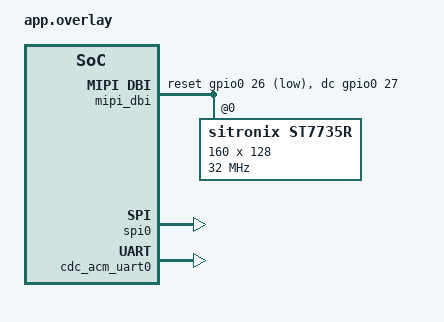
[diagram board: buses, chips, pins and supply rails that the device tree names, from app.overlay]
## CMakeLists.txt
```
# SPDX-License-Identifier: Apache-2.0

cmake_minimum_required(VERSION 3.20.0)

find_package(Zephyr REQUIRED HINTS $ENV{ZEPHYR_BASE})

# Explicitly add LVGL as a module
list(APPEND ZEPHYR_MODULES "${CMAKE_CURRENT_SOURCE_DIR}/../../../modules/lib/gui/lvgl")


project(picow_lvgl)

target_sources(app PRIVATE src/main.c)
```

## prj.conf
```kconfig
#CDC specific configurations
CONFIG_USB_DEVICE_STACK=y
CONFIG_USB_DEVICE_PRODUCT="RPi Pico USB Serial Console"
CONFIG_USB_DEVICE_VID=0001
CONFIG_CONSOLE=y

#UART specific configurations - also required for CDC ACM
CONFIG_SERIAL=y # Enable options for serial drivers
CONFIG_UART_CONSOLE=y # Sets the default for printk and printf to output to the UART serial console
CONFIG_UART_LINE_CTRL=y # This enables the API for apps to control the serial line, such as baud rate, CTS and RTS.

CONFIG_HEAP_MEM_POOL_SIZE=16384

#SPI TFT specific configs
CONFIG_GPIO=y
CONFIG_SPI=y
CONFIG_DISPLAY=y
CONFIG_ST7735R=y
CONFIG_LOG=y
CONFIG_LVGL=y

CONFIG_LV_Z_MEM_POOL_SIZE=16384
CONFIG_MAIN_STACK_SIZE=2048
CONFIG_DISPLAY_LOG_LEVEL_ERR=y
CONFIG_LV_USE_LOG=y
CONFIG_LV_USE_LABEL=y
CONFIG_LV_FONT_MONTSERRAT_14=y
CONFIG_LV_FONT_MONTSERRAT_8=y
CONFIG_LV_Z_BITS_PER_PIXEL=32
```

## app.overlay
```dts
#include <zephyr/dt-bindings/mipi_dbi/mipi_dbi.h>
/ {
    chosen {
        zephyr,console = &cdc_acm_uart0;
        zephyr,display = &st7735r;
    };

    mipi_dbi {
        compatible = "zephyr,mipi-dbi-spi";
        reset-gpios = <&gpio0 26 GPIO_ACTIVE_LOW>;
        dc-gpios = <&gpio0 27 GPIO_ACTIVE_HIGH>; // Note: Changed polarity to HIGH
        spi-dev = <&spi0>;
        #address-cells = <1>;
        #size-cells = <0>;

        st7735r: st7735r@0 {
            compatible = "sitronix,st7735r";
            reg = <0>;
            mipi-max-frequency = <32000000>;
            width = <160>;
            height = <128>;
            x-offset = <0>;
            y-offset = <0>;
            madctl = <0x60>;
            colmod = <0x55>;
            mipi-mode = "MIPI_DBI_MODE_SPI_4WIRE";
            vmctr1 = <0x0e>;
            pwctr1 = [a2 02 84];
            pwctr2 = [c5];
            pwctr3 = [0a 00];
            pwctr4 = [8a 2a];
            pwctr5 = [8a ee];
            frmctr1 = [01 2c 2d];
            frmctr2 = [01 2c 2d];
            frmctr3 = [01 2c 2d 01 2c 2d];
            gamctrp1 = [02 1c 07 12 37 32 29 2d 29 25 2b 39 00 01 03 10];
            gamctrn1 = [03 1d 07 06 2e 2c 29 2d 2e 2e 37 3f 00 00 02 10];
        };
    };
};

&spi0 {
    status = "okay";
    cs-gpios = <&gpio0 17 GPIO_ACTIVE_LOW>;
};

&zephyr_udc0 {
    cdc_acm_uart0: cdc_acm_uart0 {
        compatible = "zephyr,cdc-acm-uart";
        label = "CDC_ACM_0";
        status = "okay";
    };
};
```

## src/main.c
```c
#include <zephyr/kernel.h>
#include <zephyr/drivers/display.h>
#include <zephyr/logging/log.h>
#include <zephyr/drivers/gpio.h>
#include <zephyr/drivers/spi.h>
#include <zephyr/usb/usb_device.h>
#include <zephyr/drivers/uart.h>

#include <zephyr/device.h>
#include <lvgl.h>
//#include <zephyr/drivers/display/display_st7735r.h>
#include <stdio.h>
#include <string.h>
#include <zephyr/sys/printk.h>

LOG_MODULE_REGISTER(main, LOG_LEVEL_INF);

void main(void)
{
    const struct device *display_dev;
    lv_obj_t *label1;
    lv_obj_t *label2;
    lv_obj_t *label3;
    lv_obj_t *container;
    
    display_dev = DEVICE_DT_GET(DT_CHOSEN(zephyr_display));
    if (!device_is_ready(display_dev)) {
        LOG_ERR("Display device not ready");
        return;
    }
    
    LOG_INF("Display device initialized");
    
    // Set background color to white
    lv_obj_set_style_bg_color(lv_scr_act(), lv_color_white(), LV_PART_MAIN);
    
    // Create a container with oval shape
    container = lv_obj_create(lv_scr_act());
    // Make the oval wider but less tall to improve proportions
    lv_obj_set_size(container, 200, 100);
    lv_obj_align(container, LV_ALIGN_CENTER, 0, 0);
    
    // Style the container as a yellow oval - using direct RGB values
    lv_obj_set_style_radius(container, 50, LV_PART_MAIN); // Use specific radius instead of LV_RADIUS_CIRCLE
    // Try a different yellow definition - pure yellow in RGB
    lv_obj_set_style_bg_color(container, lv_color_make(255, 255, 0), LV_PART_MAIN);
    lv_obj_set_style_border_width(container, 0, LV_PART_MAIN); // No border
    
    // Create first label with default font size
    label1 = lv_label_create(container);
    lv_label_set_text(label1, "Nett Hier!");
    lv_obj_align(label1, LV_ALIGN_CENTER, 0, -25); // Adjusted position
    
    // Set text color to black for better visibility on yellow background
    lv_obj_set_style_text_color(label1, lv_color_black(), LV_PART_MAIN);
    
    // Create second label with smaller font - first part
    label2 = lv_label_create(container);
    lv_label_set_text(label2, "Aber waren Sie schon mal");
    lv_obj_align(label2, LV_ALIGN_CENTER, 0, 5); // Adjusted position
    
    // Set text color to black and smaller font size
    lv_obj_set_style_text_color(label2, lv_color_black(), LV_PART_MAIN);
    lv_obj_set_style_text_font(label2, &lv_font_montserrat_8, LV_PART_MAIN); // Use smaller font
    
    // Create third label with smaller font - second part
    label3 = lv_label_create(container);
    lv_label_set_text(label3, "in Baden-Wuerttemberg?");
    lv_obj_align(label3, LV_ALIGN_CENTER, 0, 25); // Adjusted position
    
    // Set text color to black and smaller font size
    lv_obj_set_style_text_color(label3, lv_color_black(), LV_PART_MAIN);
    lv_obj_set_style_text_font(label3, &lv_font_montserrat_8, LV_PART_MAIN); // Use smaller font
    
    // Turn off display blanking to keep the display on
    display_blanking_off(display_dev);
    
    while (1) {
        // LVGL task handler needs to be called periodically
        lv_task_handler();
        k_sleep(K_MSEC(10));
    }
}
```
